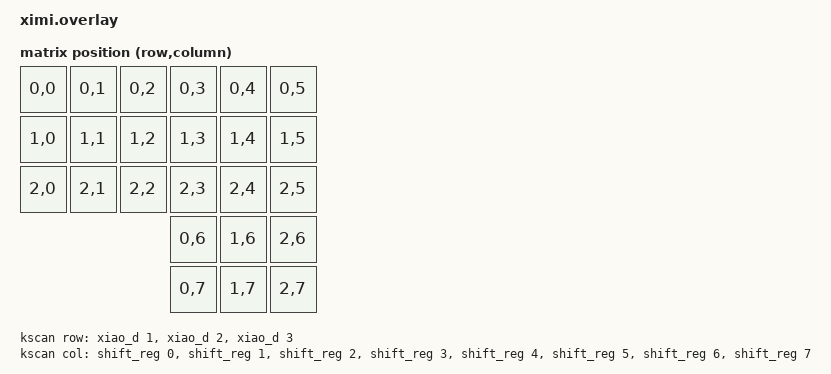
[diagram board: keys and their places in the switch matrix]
/*
 * Copyright (c) 2022 Sadek Baroudi
 *
 * SPDX-License-Identifier: MIT
 */

#include <dt-bindings/zmk/matrix_transform.h>

&xiao_spi {
	status = "okay";

	cs-gpios = <&xiao_d 7 GPIO_ACTIVE_LOW>;
	shift_reg: 595@0 {
		compatible = "zmk,gpio-595";
		status = "okay";
		gpio-controller;
		spi-max-frequency = <200000>;
		reg = <0>;
		label = "4HC595";
		#gpio-cells = <2>;
		ngpios = <8>;
	};
/*
    led_strip: ws2812@1 {
        compatible = "worldsemi,ws2812-spi";
        label = "SK6812minie";

        // SPI
        reg = <0>; // ignored, but necessary for SPI bindings
        spi-max-frequency = <4000000>;

        // WS2812
        chain-length = <21>;
        spi-one-frame = <0x70>;
        spi-zero-frame = <0x40>;
        color-mapping = <LED_COLOR_ID_GREEN
                         LED_COLOR_ID_RED
                         LED_COLOR_ID_BLUE>;
    };
*/
};

/ {
	chosen {
		zmk,kscan = &kscan;
		zmk,matrix_transform = &transform;
		// zmk,underglow = &led_strip;
	};

	transform: transform {
		compatible = "zmk,matrix-transform";
		rows = <3>;
		columns = <8>;

		map = <
	RC(0,0) RC(0,1) RC(0,2) RC(0,3) RC(0,4) RC(0,5)
	RC(1,0) RC(1,1) RC(1,2) RC(1,3) RC(1,4) RC(1,5)
	RC(2,0) RC(2,1) RC(2,2) RC(2,3) RC(2,4) RC(2,5)
	                        RC(0,6) RC(1,6) RC(2,6)
	                        RC(0,7) RC(1,7) RC(2,7)
	>;
	};
	
	kscan: kscan {
		compatible = "zmk,kscan-gpio-matrix";
		label = "KSCAN";

		debounce-press-ms = <1>;
		debounce-release-ms = <5>;

		diode-direction = "col2row";

		col-gpios
			= <&shift_reg 0 (GPIO_ACTIVE_HIGH)>
			, <&shift_reg 1 (GPIO_ACTIVE_HIGH)>
			, <&shift_reg 2 (GPIO_ACTIVE_HIGH)>
			, <&shift_reg 3 (GPIO_ACTIVE_HIGH)>
			, <&shift_reg 4 (GPIO_ACTIVE_HIGH)>
			, <&shift_reg 5 (GPIO_ACTIVE_HIGH)>
			, <&shift_reg 6 (GPIO_ACTIVE_HIGH)>
			, <&shift_reg 7 (GPIO_ACTIVE_HIGH)>
			;
		row-gpios
			= <&xiao_d 1 (GPIO_ACTIVE_HIGH | GPIO_PULL_DOWN)>
			, <&xiao_d 2 (GPIO_ACTIVE_HIGH | GPIO_PULL_DOWN)>
			, <&xiao_d 3 (GPIO_ACTIVE_HIGH | GPIO_PULL_DOWN)>
			;
	};
};

